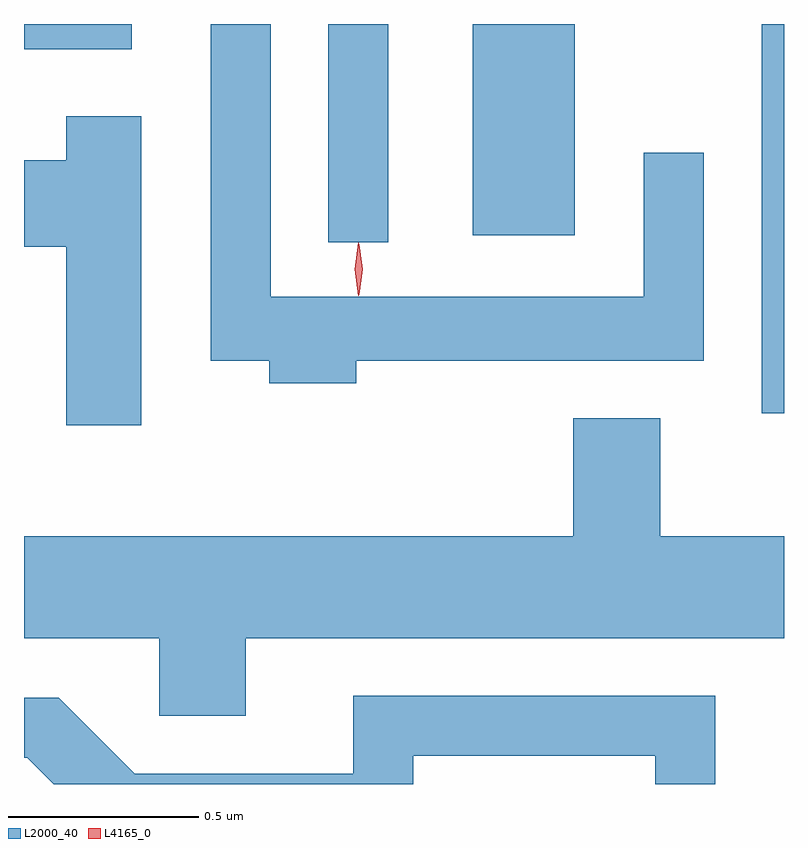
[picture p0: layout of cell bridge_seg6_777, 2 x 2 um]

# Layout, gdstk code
import gdstk
lib = gdstk.Library(unit=1e-6, precision=1e-09)
def R(c, l, rs):  # rectangles x0, y0, x1, y1
    for r in rs: c.add(gdstk.rectangle(r[:2], r[2:], *l))
def P(c, l, *ps):  # polygons
    for p in ps: c.add(gdstk.Polygon(p, *l))
L2000_40 = (2000, 40)
L4165_0 = (4165, 0)

bridge_seg6_777 = lib.new_cell('bridge_seg6_777')
R(bridge_seg6_777, L2000_40, [(445.416,1583.928,445.475,1584.952), (444.276,1584.378,444.434,1584.952), (444.656,1584.396,444.924,1584.952), (443.475,1584.886,443.759,1584.952)])
P(bridge_seg6_777, L2000_40, [(444.349,1584.066),(445.264,1584.066),(445.264,1584.613),(445.106,1584.613),(445.106,1584.234),(444.124,1584.234),(444.124,1584.952),(443.966,1584.952),(443.966,1584.066),(444.121,1584.066),(444.121,1584.006),(444.349,1584.006)],
  [(443.784,1584.709),(443.586,1584.709),(443.586,1584.594),(443.475,1584.594),(443.475,1584.366),(443.586,1584.366),(443.586,1583.896),(443.784,1583.896)],
  [(444.059,1583.336),(445.475,1583.336),(445.475,1583.604),(445.149,1583.604),(445.149,1583.914),(444.921,1583.914),(444.921,1583.604),(443.475,1583.604),(443.475,1583.336),(443.831,1583.336),(443.831,1583.131),(444.059,1583.131)],
  [(444.499,1583.026),(445.136,1583.026),(445.136,1582.952),(445.294,1582.952),(445.294,1583.184),(444.341,1583.184),(444.341,1582.979),(443.767,1582.979),(443.567,1583.179),(443.475,1583.179),(443.475,1583.021),(443.484,1583.021),(443.553,1582.952),(444.499,1582.952)])
P(bridge_seg6_777, L4165_0, [(444.355,1584.237),(444.355,1584.237),(444.345,1584.307),(444.355,1584.376),(444.355,1584.376),(444.356,1584.376),(444.365,1584.307),(444.356,1584.237)],
  [(444.356,1584.24),(444.356,1584.24),(444.346,1584.306),(444.356,1584.372),(444.356,1584.373),(444.357,1584.372),(444.366,1584.306),(444.357,1584.24)])

lib.write_gds('bridge_seg6_777.gds')
